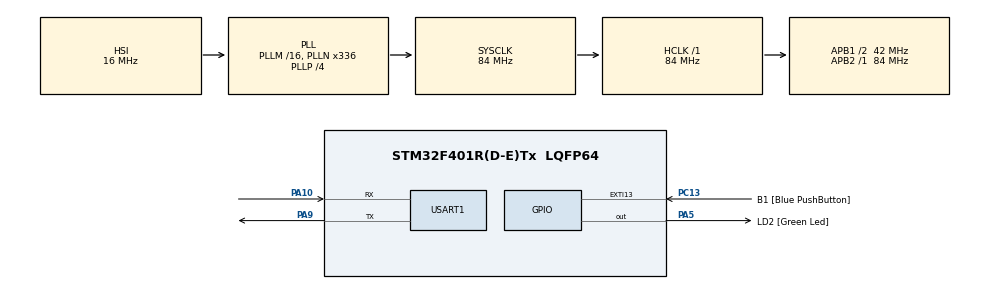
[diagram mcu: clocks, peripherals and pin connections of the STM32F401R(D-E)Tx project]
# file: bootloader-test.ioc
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Dma.Request0=USART1_RX
Dma.USART1_RX.0.Direction=DMA_PERIPH_TO_MEMORY
Dma.USART1_RX.0.FIFOMode=DMA_FIFOMODE_DISABLE
Dma.USART1_RX.0.Instance=DMA2_Stream2
Dma.USART1_RX.0.MemDataAlignment=DMA_MDATAALIGN_BYTE
Dma.USART1_RX.0.MemInc=DMA_MINC_ENABLE
Dma.USART1_RX.0.Mode=DMA_NORMAL
Dma.USART1_RX.0.PeriphDataAlignment=DMA_PDATAALIGN_BYTE
Dma.USART1_RX.0.PeriphInc=DMA_PINC_DISABLE
Dma.USART1_RX.0.Priority=DMA_PRIORITY_LOW
Mcu.Family=STM32F4
Mcu.Name=STM32F401R(D-E)Tx
Mcu.Package=LQFP64
NVIC.DMA2_Stream2_IRQn=true\:0\:0\:false\:false\:true\:false\:true\:true
NVIC.PriorityGroup=NVIC_PRIORITYGROUP_0
NVIC.USART1_IRQn=true\:0\:0\:false\:false\:true\:true\:true\:true
PA10.Mode=Asynchronous
PA10.Signal=USART1_RX
PA13.GPIO_Label=TMS
PA13.Mode=Serial_Wire
PA13.Signal=SYS_JTMS-SWDIO
PA14.GPIO_Label=TCK
PA14.Mode=Serial_Wire
PA14.Signal=SYS_JTCK-SWCLK
PA2.GPIO_Label=USART_TX
PA2.GPIO_Mode=GPIO_MODE_AF_PP
PA2.GPIO_PuPd=GPIO_NOPULL
PA2.GPIO_Speed=GPIO_SPEED_FREQ_LOW
PA2.Signal=USART2_TX
PA3.GPIO_Label=USART_RX
PA3.GPIO_Mode=GPIO_MODE_AF_PP
PA3.GPIO_PuPd=GPIO_NOPULL
PA3.GPIO_Speed=GPIO_SPEED_FREQ_LOW
PA3.Signal=USART2_RX
PA5.GPIO_Label=LD2 [Green Led]
PA5.GPIO_Mode=GPIO_MODE_OUTPUT_PP
PA5.GPIO_PuPd=GPIO_NOPULL
PA5.GPIO_Speed=GPIO_SPEED_FREQ_LOW
PA5.Signal=GPIO_Output
PA9.Mode=Asynchronous
PA9.Signal=USART1_TX
PB3.GPIO_Label=SWO
PB3.Signal=SYS_JTDO-SWO
PC13-ANTI_TAMP.GPIO_Label=B1 [Blue PushButton]
PC13-ANTI_TAMP.GPIO_ModeDefaultEXTI=GPIO_MODE_IT_FALLING
PC13-ANTI_TAMP.GPIO_PuPd=GPIO_NOPULL
PC13-ANTI_TAMP.Signal=GPXTI13
PC14-OSC32_IN.Mode=LSE-External-Oscillator
PC14-OSC32_IN.Signal=RCC_OSC32_IN
PC15-OSC32_OUT.Mode=LSE-External-Oscillator
PC15-OSC32_OUT.Signal=RCC_OSC32_OUT
PH0\ -\ OSC_IN.Mode=HSE-External-Clock-Source
PH0\ -\ OSC_IN.Signal=RCC_OSC_IN
PH1\ -\ OSC_OUT.Mode=HSE-External-Clock-Source
PH1\ -\ OSC_OUT.Signal=RCC_OSC_OUT
ProjectManager.HeapSize=0x200
ProjectManager.StackSize=0x400
ProjectManager.TargetToolchain=STM32CubeIDE
RCC.48MHZClocksFreq_Value=48000000
RCC.AHBFreq_Value=84000000
RCC.APB1CLKDivider=RCC_HCLK_DIV2
RCC.APB1Freq_Value=42000000
RCC.APB1TimFreq_Value=84000000
RCC.APB2Freq_Value=84000000
RCC.APB2TimFreq_Value=84000000
RCC.CortexFreq_Value=84000000
RCC.HCLKFreq_Value=84000000
RCC.HSE_VALUE=8000000
RCC.HSI_VALUE=16000000
RCC.PLLN=336
RCC.PLLP=RCC_PLLP_DIV4
RCC.PLLQ=7
RCC.SYSCLKFreq_VALUE=84000000
RCC.SYSCLKSource=RCC_SYSCLKSOURCE_PLLCLK
RCC.VCOOutputFreq_Value=336000000
USART1.Parity=PARITY_EVEN
USART1.VirtualMode=VM_ASYNC
board=NUCLEO-F401RE

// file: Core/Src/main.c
/* USER CODE BEGIN Header */
/**
  ******************************************************************************
  * @file           : main.c
  * @brief          : Main program body
  ******************************************************************************
  * @attention
  *
  * Copyright (c) 2024 STMicroelectronics.
  * All rights reserved.
  *
  * This software is licensed under terms that can be found in the LICENSE file
  * in the root directory of this software component.
  * If no LICENSE file comes with this software, it is provided AS-IS.
  *
  ******************************************************************************
  */
/* USER CODE END Header */
#include "main.h"
#include "dma.h"
#include "usart.h"
#include "gpio.h"

/* USER CODE BEGIN Includes */
#include <string.h>
#include <stdio.h>
/* USER CODE END Includes */

/* USER CODE BEGIN PV */
#define RX_BUFFER_SIZE 64
uint8_t rx_buffer[RX_BUFFER_SIZE];
volatile uint8_t do_programming_flag = 0;
/* USER CODE END PV */

void SystemClock_Config(void);
/* USER CODE BEGIN PFP */
static void CheckForCommand(void);
static void JumpToBootloader(void);
static void read_version(void);
/* USER CODE END PFP */

/* USER CODE BEGIN 0 */
__attribute__((section(".my_version_section"))) const char version_string[] = "VER 1 0 0";
/* USER CODE END 0 */

int main(void)
{

  /* MCU Configuration--------------------------------------------------------*/

  /* Reset of all peripherals, Initializes the Flash interface and the Systick. */
  HAL_Init();

  /* Configure the system clock */
  SystemClock_Config();

  /* Initialize all configured peripherals */
  MX_GPIO_Init();
  MX_DMA_Init();
  MX_USART1_UART_Init();

  /* Infinite loop */
  /* USER CODE BEGIN WHILE */

  // Start DMA reception
  HAL_UART_Receive_DMA(&huart1, rx_buffer, RX_BUFFER_SIZE);
  uint32_t prevTick = 0;

  while (1)
  {
    /* USER CODE END WHILE */

    /* USER CODE BEGIN 3 */
	  CheckForCommand();

	  if((HAL_GetTick() - prevTick >= 250)
			  && do_programming_flag == 0)
	  {
		  HAL_GPIO_TogglePin(LD2_GPIO_Port, LD2_Pin);
		  char buf[256];
		  int size;
		  size = sprintf(buf, "Toggle led...\n\r");
		  HAL_UART_Transmit(&huart1, (uint8_t*)buf, size, 5);
		  read_version();
		  prevTick = HAL_GetTick();
	  }

	  if(do_programming_flag == 1)
	  {
		  char buf[256];
		  int size;
		  size = sprintf(buf, "Going into bootloader mode...\n\r");
		  HAL_UART_Transmit(&huart1, (uint8_t*)buf, size, 5);
		  HAL_GPIO_WritePin(LD2_GPIO_Port, LD2_Pin, GPIO_PIN_SET);
		  JumpToBootloader();
	  }
  }
  /* USER CODE END 3 */
}

void SystemClock_Config(void)
{
  RCC_OscInitTypeDef RCC_OscInitStruct = {0};
  RCC_ClkInitTypeDef RCC_ClkInitStruct = {0};

  /** Configure the main internal regulator output voltage
  */
  __HAL_RCC_PWR_CLK_ENABLE();
  __HAL_PWR_VOLTAGESCALING_CONFIG(PWR_REGULATOR_VOLTAGE_SCALE2);

  /** Initializes the RCC Oscillators according to the specified parameters
  * in the RCC_OscInitTypeDef structure.
  */
  RCC_OscInitStruct.OscillatorType = RCC_OSCILLATORTYPE_HSI;
  RCC_OscInitStruct.HSIState = RCC_HSI_ON;
  RCC_OscInitStruct.HSICalibrationValue = RCC_HSICALIBRATION_DEFAULT;
  RCC_OscInitStruct.PLL.PLLState = RCC_PLL_ON;
  RCC_OscInitStruct.PLL.PLLSource = RCC_PLLSOURCE_HSI;
  RCC_OscInitStruct.PLL.PLLM = 16;
  RCC_OscInitStruct.PLL.PLLN = 336;
  RCC_OscInitStruct.PLL.PLLP = RCC_PLLP_DIV4;
  RCC_OscInitStruct.PLL.PLLQ = 7;
  if (HAL_RCC_OscConfig(&RCC_OscInitStruct) != HAL_OK)
  {
    Error_Handler();
  }

  /** Initializes the CPU, AHB and APB buses clocks
  */
  RCC_ClkInitStruct.ClockType = RCC_CLOCKTYPE_HCLK|RCC_CLOCKTYPE_SYSCLK
                              |RCC_CLOCKTYPE_PCLK1|RCC_CLOCKTYPE_PCLK2;
  RCC_ClkInitStruct.SYSCLKSource = RCC_SYSCLKSOURCE_PLLCLK;
  RCC_ClkInitStruct.AHBCLKDivider = RCC_SYSCLK_DIV1;
  RCC_ClkInitStruct.APB1CLKDivider = RCC_HCLK_DIV2;
  RCC_ClkInitStruct.APB2CLKDivider = RCC_HCLK_DIV1;

  if (HAL_RCC_ClockConfig(&RCC_ClkInitStruct, FLASH_LATENCY_2) != HAL_OK)
  {
    Error_Handler();
  }
}

/* USER CODE BEGIN 4 */
void CheckForCommand(void)
{
    // Example: Look for "DO_PROGRAMMING" command in the buffer
    if (strstr((char*)rx_buffer, "DO_PROGRAMMING") != NULL) {
        do_programming_flag = 1;
        // Clear the command from the buffer (optional)
        memset(rx_buffer, 0, RX_BUFFER_SIZE);
    }
}

#define VERSION_ADDRESS 0x08005000

void read_version(void) {
    const char *version = (const char *)VERSION_ADDRESS;
    char buf[256];
    int size;
    size = sprintf(buf, "Firmware version: %s\n\r", version);
    HAL_UART_Transmit(&huart1, (uint8_t*)buf, size, 5);
}

void JumpToBootloader(void)
{
	void (*SysMemBootJump)(void);

	    /**
	     * Step: Set system memory address.
	     *
	     *       For STM32F429, system memory is on 0x1FFF 0000
	     *       For other families, check AN2606 document table 110 with descriptions of memory addresses
	     */
	    volatile uint32_t addr = 0x1FFF0000;

	    /**
	     * Step: Disable RCC, set it to default (after reset) settings
	     *       Internal clock, no PLL, etc.
	     */
	    HAL_RCC_DeInit();
	    HAL_DeInit(); // add by ctien
	    /**
	     * Step: Disable systick timer and reset it to default values
	     */
	    SysTick->CTRL = 0;
	    SysTick->LOAD = 0;
	    SysTick->VAL = 0;

	    /**
	     * Step: Disable all interrupts
	     */
	//    __disable_irq(); // changed by ctien

	    /**
	     * Step: Remap system memory to address 0x0000 0000 in address space
	     *       For each family registers may be different.
	     *       Check reference manual for each family.
	     *
	     *       For STM32F4xx, MEMRMP register in SYSCFG is used (bits[1:0])
	     *       For STM32F0xx, CFGR1 register in SYSCFG is used (bits[1:0])
	     *       For others, check family reference manual
	     */
	    SYSCFG->MEMRMP = 0x01;
	    //} ...or if you use HAL drivers
	    //__HAL_SYSCFG_REMAPMEMORY_SYSTEMFLASH();    //Call HAL macro to do this for you

	    /**
	     * Step: Set jump memory location for system memory
	     *       Use address with 4 bytes offset which specifies jump location where program starts
	     */
	    SysMemBootJump = (void (*)(void)) (*((uint32_t *)(addr + 4)));

	    /**
	     * Step: Set main stack pointer.
	     *       This step must be done last otherwise local variables in this function
	     *       don't have proper value since stack pointer is located on different position
	     *
	     *       Set direct address location which specifies stack pointer in SRAM location
	     */
	    __set_MSP(*(uint32_t *)addr);

	    /**
	     * Step: Actually call our function to jump to set location
	     *       This will start system memory execution
	     */
	    SysMemBootJump();

	    /**
	     * Step: Connect USB<->UART converter to dedicated USART pins and test
	     *       and test with bootloader works with STM32 STM32 Cube Programmer
	     */
}
/* USER CODE END 4 */

void Error_Handler(void)
{
  __disable_irq();
  while (1)
  {
  }
}
